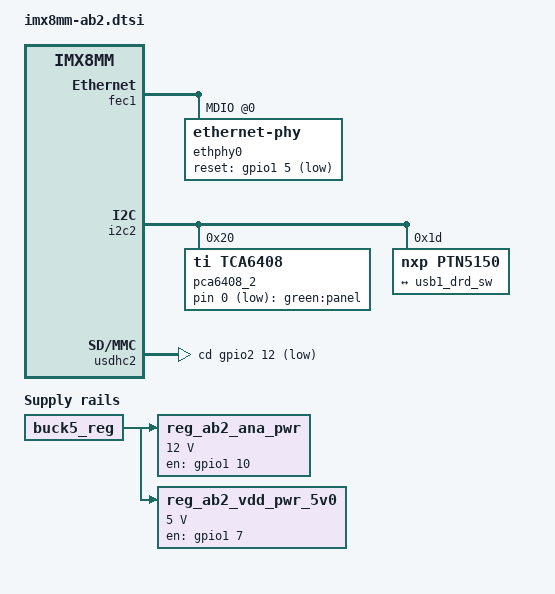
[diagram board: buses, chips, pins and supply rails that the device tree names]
// SPDX-License-Identifier: (GPL-2.0+ OR MIT)
/*
 * Copyright 2022 NXP
 */

/ {
	/delete-node/ audio-codec;
	/delete-node/ dsi-host;
	/delete-node/ ir-receiver;
	/delete-node/ rm67199_panel;
	/delete-node/ sound-wm8524;
	/delete-node/ regulator-pcie;

	leds {
		panel {
			label = "green:panel";
			gpios = <&pca6408_2 0 GPIO_ACTIVE_LOW>;
			default-state = "on";
		};
	};

	reg_ab2_ana_pwr: regulator-ab2-ana-pwr {
		compatible = "regulator-fixed";
		regulator-name = "ANA_12V0";
		pinctrl-names = "default";
		pinctrl-0 = <&pinctrl_ab2_ana_pwr>;
		regulator-min-microvolt = <12000000>;
		regulator-max-microvolt = <12000000>;
		gpio = <&gpio1 10 GPIO_ACTIVE_HIGH>;
		vin-supply = <&buck5_reg>;
		enable-active-high;
		regulator-always-on;
		regulator-boot-on;
	};

	reg_ab2_vdd_pwr_5v0: regulator-ab2-vdd-pwr-5v0 {
		compatible = "regulator-fixed";
		regulator-name = "VDD_5V0";
		pinctrl-names = "default";
		pinctrl-0 = <&pinctrl_ab2_vdd_pwr_5v0>;
		regulator-min-microvolt = <5000000>;
		regulator-max-microvolt = <5000000>;
		gpio = <&gpio1 7 GPIO_ACTIVE_HIGH>;
		vin-supply = <&buck5_reg>;
		enable-active-high;
		regulator-always-on;
		regulator-boot-on;
	};

	reg_pcie0: regulator-pcie {
		status = "disabled";
	};
};

&fec1 {
	mdio {
		ethphy0: ethernet-phy@0 {
			reset-gpios = <&gpio1 5 GPIO_ACTIVE_LOW>;
			reset-deassert-us = <150000>;
			reset-assert-us = <15000>;
		};
	};
};

&i2c2 {
	/delete-node/ adv7535@3d;
	/delete-node/ tcpc@50;

	pca6408_2: gpio@20 {
		compatible = "ti,tca6408";
		reg = <0x20>;
		gpio-controller;
		#gpio-cells = <2>;
	};

	ptn5150: tcpc@1d {
		compatible = "nxp,ptn5150";
		reg = <0x1d>;
		status = "okay";

		port {
			typec1_dr_sw: endpoint {
				remote-endpoint = <&usb1_drd_sw>;
			};
		};

		typec1_con: connector {
			compatible = "usb-c-connector";
			label = "USB-C";
			power-role = "dual";
			data-role = "dual";
			try-power-role = "sink";
			source-pdos = <PDO_FIXED(5000, 3000, PDO_FIXED_USB_COMM)>;
			sink-pdos = <PDO_FIXED(5000, 3000, PDO_FIXED_USB_COMM)
				PDO_VAR(5000, 20000, 3000)>;
			op-sink-microwatt = <15000000>;
			self-powered;
		};
	};
};

&iomuxc {
	/delete-node/ pcie0reggrp;

	pinctrl_fec1: fec1grp {
		fsl,pins = <
			MX8MM_IOMUXC_ENET_MDC_ENET1_MDC		0x3
			MX8MM_IOMUXC_ENET_MDIO_ENET1_MDIO	0x3
			MX8MM_IOMUXC_ENET_TD3_ENET1_RGMII_TD3	0x1f
			MX8MM_IOMUXC_ENET_TD2_ENET1_RGMII_TD2	0x1f
			MX8MM_IOMUXC_ENET_TD1_ENET1_RGMII_TD1	0x1f
			MX8MM_IOMUXC_ENET_TD0_ENET1_RGMII_TD0	0x1f
			MX8MM_IOMUXC_ENET_RD3_ENET1_RGMII_RD3	0x91
			MX8MM_IOMUXC_ENET_RD2_ENET1_RGMII_RD2	0x91
			MX8MM_IOMUXC_ENET_RD1_ENET1_RGMII_RD1	0x91
			MX8MM_IOMUXC_ENET_RD0_ENET1_RGMII_RD0	0x91
			MX8MM_IOMUXC_ENET_TXC_ENET1_RGMII_TXC	0x1f
			MX8MM_IOMUXC_ENET_RXC_ENET1_RGMII_RXC	0x91
			MX8MM_IOMUXC_ENET_RX_CTL_ENET1_RGMII_RX_CTL	0x91
			MX8MM_IOMUXC_ENET_TX_CTL_ENET1_RGMII_TX_CTL	0x1f
			MX8MM_IOMUXC_GPIO1_IO05_GPIO1_IO5	0x19	/* ENET_PHY_RST_B */
			MX8MM_IOMUXC_GPIO1_IO11_GPIO1_IO11	0x19	/* ENET_PHY_INT_B */
		>;
	};

	pinctrl_ab2_ana_pwr: ab2anapwrgrp {
		fsl,pins = <
			MX8MM_IOMUXC_GPIO1_IO10_GPIO1_IO10	0x41
		>;
	};

	pinctrl_ab2_vdd_pwr_5v0: ab2vddpwr5v0grp {
		fsl,pins = <
			MX8MM_IOMUXC_GPIO1_IO07_GPIO1_IO7	0x41
		>;
	};

	pinctrl_usdhc2_gpio: usdhc2grpgpiogrp {
		fsl,pins = <
			MX8MM_IOMUXC_SD2_CD_B_GPIO2_IO12	0x1c4
		>;
	};
};

&lcdif {
	status = "disabled";
};

&mipi_dsi {
	status = "disabled";

	/delete-node/ port@1;
	/delete-node/ port@2;
};

&sai3 {
	status = "disabled";
};

&usbotg1 {
	extcon = <&ptn5150>;
};

&usdhc2 {
	cd-gpios = <&gpio2 12 GPIO_ACTIVE_LOW>;
};

&pcie_phy {
	status = "disabled";
};

&pcie0 {
	status = "disabled";
};
